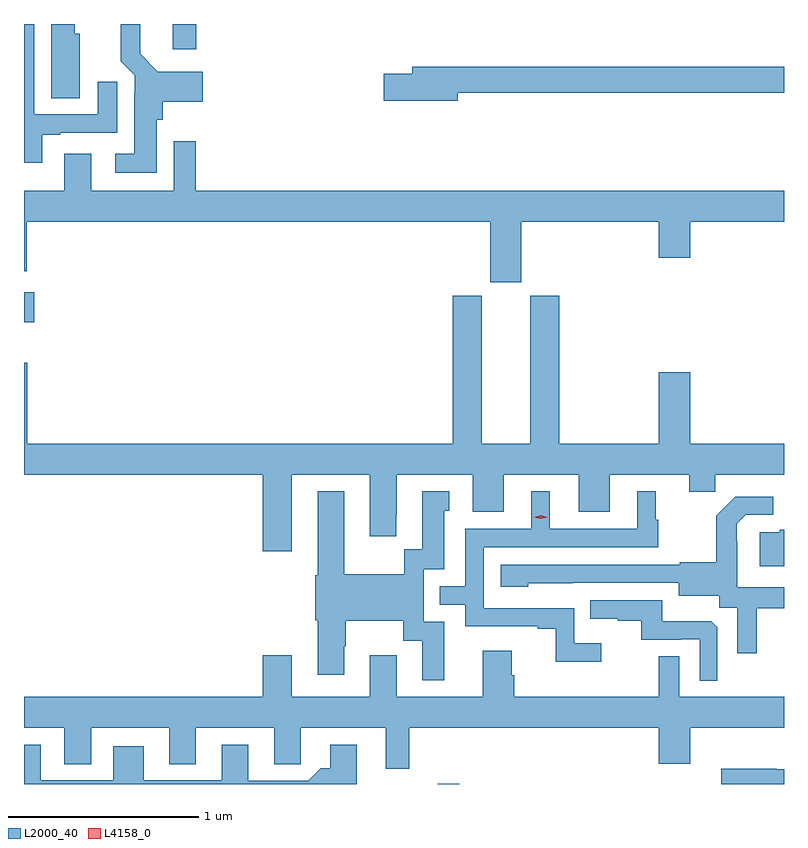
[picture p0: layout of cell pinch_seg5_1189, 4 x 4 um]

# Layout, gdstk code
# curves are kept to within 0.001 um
import gdstk
lib = gdstk.Library(unit=1e-6, precision=1e-09)
def R(c, l, rs):  # rectangles x0, y0, x1, y1
    for r in rs: c.add(gdstk.rectangle(r[:2], r[2:], *l))
def P(c, l, *ps):  # polygons
    for p in ps: c.add(gdstk.Polygon(p, *l))
L2000_40 = (2000, 40)
L4158_0 = (4158, 0)

pinch_seg5_1189 = lib.new_cell('pinch_seg5_1189')
R(pinch_seg5_1189, L2000_40, [(403.604,888.433,403.717,888.435), (401.426,890.864,401.479,891.022), (402.209,892.299,402.332,892.433)])
P(pinch_seg5_1189, L2000_40, [(401.521,891.849),(401.617,891.849),(401.617,891.861),(401.917,891.861),(401.917,892.129),(401.813,892.129),(401.813,891.957),(401.479,891.957),(401.479,892.433),(401.426,892.433),(401.426,891.702),(401.521,891.702)],
  [(401.719,892.383),(401.692,892.383),(401.692,892.433),(401.57,892.433),(401.57,892.042),(401.719,892.042)],
  [(402.124,891.93),(402.155,891.93),(402.155,892.025),(402.367,892.025),(402.367,892.183),(402.129,892.183),(402.037,892.276),(402.037,892.433),(401.935,892.433),(401.935,892.238),(402.009,892.164),(402.009,892.07),(402.005,892.07),(402.005,891.751),(401.907,891.751),(401.907,891.65),(402.124,891.65)],
  [(403.708,892.072),(405.426,892.072),(405.426,892.208),(403.469,892.208),(403.469,892.172),(403.32,892.172),(403.32,892.03),(403.708,892.03)],
  [(404.044,891.392),(404.768,891.392),(404.768,891.204),(404.932,891.204),(404.932,891.392),(405.426,891.392),(405.426,891.556),(402.329,891.556),(402.329,891.817),(402.213,891.817),(402.213,891.556),(401.779,891.556),(401.779,891.751),(401.639,891.751),(401.639,891.556),(401.426,891.556),(401.426,891.132),(401.441,891.132),(401.441,891.392),(403.88,891.392),(403.88,891.075),(404.044,891.075)],
  [(402.835,890.06),(403.247,890.06),(403.247,889.737),(403.384,889.737),(403.384,889.849),(403.387,889.849),(403.387,890.06),(403.787,890.06),(403.787,889.866),(403.951,889.866),(403.951,890.06),(404.345,890.06),(404.345,889.866),(404.509,889.866),(404.509,890.06),(404.927,890.06),(404.927,889.97),(405.065,889.97),(405.065,890.06),(405.426,890.06),(405.426,890.224),(404.932,890.224),(404.932,890.599),(404.768,890.599),(404.768,890.224),(404.243,890.224),(404.243,891.003),(404.09,891.003),(404.09,890.224),(403.834,890.224),(403.834,891.003),(403.682,891.003),(403.682,890.224),(401.444,890.224),(401.444,890.65),(401.426,890.65),(401.426,890.06),(402.683,890.06),(402.683,889.659),(402.835,889.659)],
  [(404.464,889.174),(404.322,889.174),(404.322,889.359),(403.845,889.359),(403.845,889.68),(404.764,889.68),(404.764,889.824),(404.752,889.824),(404.752,889.975),(404.654,889.975),(404.654,889.776),(404.194,889.776),(404.194,889.975),(404.096,889.975),(404.096,889.776),(403.749,889.776),(403.749,889.473),(403.615,889.473),(403.615,889.377),(403.749,889.377),(403.749,889.263),(404.129,889.263),(404.129,889.251),(404.224,889.251),(404.224,889.076),(404.464,889.076)],
  [(403.639,889.287),(403.53,889.287),(403.53,889.563),(403.639,889.563),(403.639,889.872),(403.663,889.872),(403.663,889.975),(403.523,889.975),(403.523,889.668),(403.427,889.668),(403.427,889.537),(403.111,889.537),(403.111,889.975),(402.971,889.975),(402.971,889.533),(402.959,889.533),(402.959,889.296),(402.971,889.296),(402.971,889.008),(403.111,889.008),(403.111,889.158),(403.119,889.158),(403.119,889.292),(403.422,889.292),(403.422,889.186),(403.523,889.186),(403.523,888.978),(403.639,888.978)],
  [(405.283,889.358),(405.426,889.358),(405.426,889.468),(405.18,889.468),(405.18,889.709),(405.178,889.709),(405.178,889.804),(405.225,889.851),(405.37,889.851),(405.37,889.945),(405.169,889.945),(405.069,889.845),(405.069,889.6),(404.877,889.6),(404.877,889.587),(403.935,889.587),(403.935,889.472),(404.079,889.472),(404.079,889.49),(404.873,889.491),(404.873,889.424),(405.084,889.424),(405.084,889.36),(405.179,889.36),(405.179,889.122),(405.283,889.122)],
  [(405.426,889.771),(405.403,889.771),(405.403,889.758),(405.299,889.758),(405.299,889.578),(405.426,889.578)],
  [(405.075,889.257),(405.043,889.289),(404.785,889.289),(404.785,889.401),(404.407,889.401),(404.407,889.304),(404.551,889.304),(404.551,889.293),(404.675,889.293),(404.675,889.191),(404.882,889.191),(404.882,889.194),(404.982,889.194),(404.982,888.977),(405.075,888.977)],
  [(403.453,888.728),(404.768,888.728),(404.768,888.54),(404.932,888.54),(404.932,888.728),(405.426,888.728),(405.426,888.892),(404.874,888.892),(404.874,889.106),(404.766,889.106),(404.766,888.892),(404.006,888.892),(404.006,889.005),(403.993,889.005),(403.993,889.135),(403.841,889.135),(403.841,888.892),(403.387,888.892),(403.387,889.111),(403.247,889.111),(403.247,888.892),(402.835,888.892),(402.835,889.111),(402.683,889.111),(402.683,888.892),(401.426,888.892),(401.426,888.728),(401.639,888.728),(401.639,888.538),(401.779,888.538),(401.779,888.728),(402.191,888.728),(402.191,888.538),(402.331,888.538),(402.331,888.728),(402.743,888.728),(402.743,888.538),(402.882,888.538),(402.882,888.728),(403.331,888.728),(403.331,888.512),(403.453,888.512)],
  [(403.177,888.64),(403.037,888.64),(403.037,888.517),(402.988,888.517),(402.921,888.45),(402.607,888.45),(402.607,888.64),(402.467,888.64),(402.467,888.453),(402.055,888.453),(402.055,888.631),(401.897,888.631),(401.897,888.453),(401.515,888.453),(401.515,888.64),(401.426,888.64),(401.426,888.433),(403.177,888.433)],
  [(405.426,888.51),(405.389,888.51),(405.389,888.512),(405.097,888.512),(405.097,888.433),(405.426,888.433)])
P(pinch_seg5_1189, L4158_0, [(404.145,889.828),(404.109,889.838),(404.109,889.838),(404.109,889.838),(404.145,889.848),(404.181,889.838),(404.181,889.838),(404.181,889.838)])

lib.write_gds('pinch_seg5_1189.gds')
